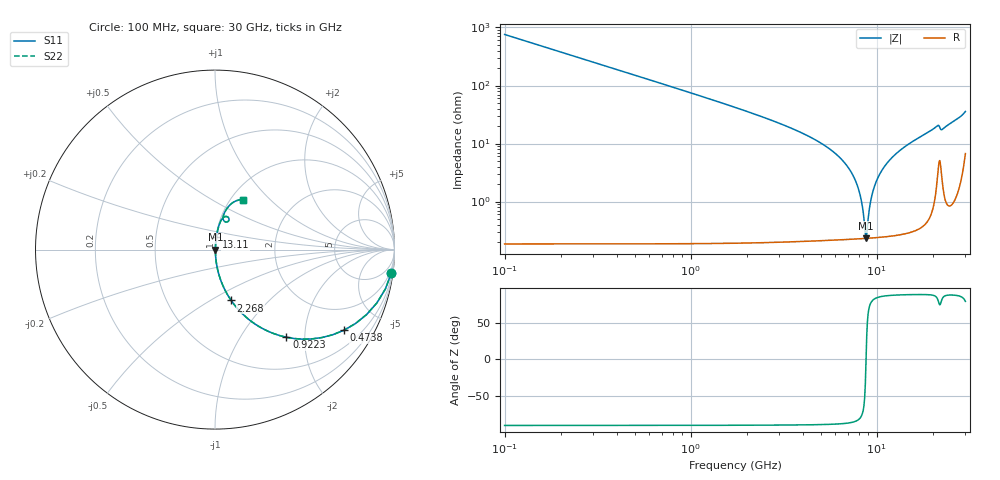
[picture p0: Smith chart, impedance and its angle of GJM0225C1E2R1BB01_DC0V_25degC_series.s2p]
!Murata Part Number: GJM0225C1E2R1BB01
!These Parameters are Measured in Series Mode Connection
!  o--ll--o
!Port1  Port2
!  o------o
!Operation Temp=25[degC], DC Bias Voltage=0[V]
!Freq. Start=100[MHz] Stop=30[GHz], 401[Steps]
!Data Generated on Feb 1, 2023
# Hz S RI R 50
!Freq.(Hz) S11(Real) S11(Imag) S21(Real) S21(Imag) S12(Real) S12(Imag) S22(Real) S22(Imag)
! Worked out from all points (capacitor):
!   401 points, 100 MHz to 30 GHz, reference 50 ohm
!   read as one part in series: C = 2.1 pF near 249.5 MHz
!   lowest |Z| = 232 mohm at 8.771 GHz (marker M1)
!   series resonance near 8.772 GHz, so ESL is about 160 pH
!   S11 on the Smith chart (normalised r, x): 100 MHz: 1, -15; 473.8 MHz: 1.00, -3.19; 922.2 MHz: 1.00, -1.63; 2.268 GHz: 1.00, -0.62; 13.11 GHz: 1.01, +0.15; 30 GHz: 1.13, +0.70
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1e8  0.9829 -0.1297  0.0171 0.1297  0.0171 0.1297  0.9829 -0.1297
4.7375e8  0.7176 -0.4496  0.2824 0.4496  0.2824 0.4496  0.7176 -0.4496
9.2225e8  0.398 -0.4883  0.602 0.4883  0.602 0.4883  0.398 -0.4883
1.4455e9  0.2073 -0.4035  0.7927 0.4035  0.7927 0.4035  0.2073 -0.4035
2.26775e9  0.0901 -0.2832  0.9099 0.2832  0.9099 0.2832  0.0901 -0.2832
5.10825e9  0.0116 -0.0968  0.9884 0.0968  0.9884 0.0968  0.0116 -0.0968
6.678e9  0.00447 -0.0475  0.9955 0.0475  0.9955 0.0475  0.00447 -0.0475
7.64975e9  0.00282 -0.0237  0.9972 0.0237  0.9972 0.0237  0.00282 -0.0237
8.24775e9  0.0024 -0.0107  0.9976 0.0107  0.9976 0.0107  0.0024 -0.0107
8.6215e9  0.00232 -0.003  0.9977 0.003  0.9977 0.003  0.00232 -0.003
8.771e9  0.00232 -2.61e-05  0.9977 2.61e-05  0.9977 2.61e-05  0.00232 -2.61e-05
8.9205e9  0.00233 0.0029  0.9977 -0.0029  0.9977 -0.0029  0.00233 0.0029
9.369e9  0.00248 0.0114  0.9975 -0.0114  0.9975 -0.0114  0.00248 0.0114
1.01165e10  0.00301 0.0248  0.997 -0.0248  0.997 -0.0248  0.00301 0.0248
1.13125e10  0.00448 0.0446  0.9955 -0.0446  0.9955 -0.0446  0.00448 0.0446
1.31065e10  0.00784 0.0718  0.9922 -0.0718  0.9922 -0.0718  0.00784 0.0718
1.505e10  0.0128 0.099  0.9872 -0.099  0.9872 -0.099  0.0128 0.099
2.005825e10  0.0369 0.1684  0.9631 -0.1684  0.9631 -0.1684  0.0369 0.1684
2.140375e10  0.0693 0.1827  0.9307 -0.1827  0.9307 -0.1827  0.0693 0.1827
2.230075e10  0.0552 0.1556  0.9448 -0.1556  0.9448 -0.1556  0.0552 0.1556
2.50665e10  0.0555 0.2107  0.9445 -0.2107  0.9445 -0.2107  0.0555 0.2107
3e10  0.154 0.2778  0.846 -0.2778  0.846 -0.2778  0.154 0.2778
